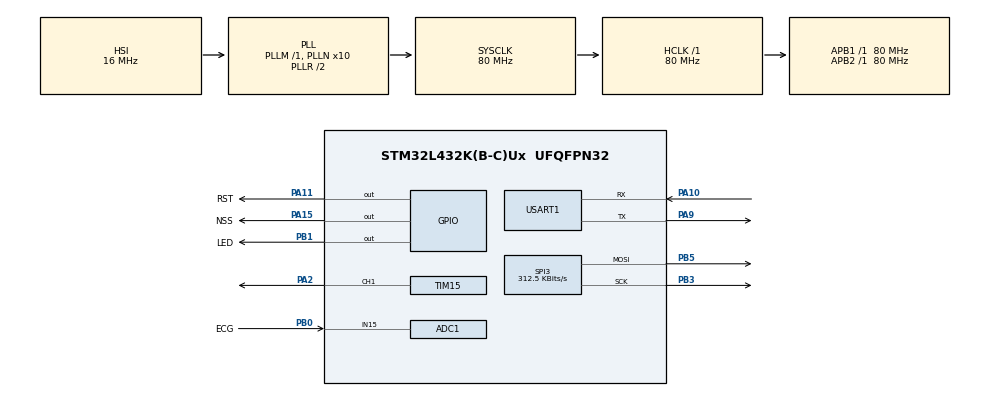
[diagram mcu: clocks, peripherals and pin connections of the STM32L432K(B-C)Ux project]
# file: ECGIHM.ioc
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ADC1.Channel-1\#ChannelRegularConversion=ADC_CHANNEL_15
ADC1.ExternalTrigConv=ADC_EXTERNALTRIG_T15_TRGO
ADC1.NbrOfConversionFlag=1
ADC1.OffsetNumber-1\#ChannelRegularConversion=ADC_OFFSET_NONE
ADC1.Rank-1\#ChannelRegularConversion=1
ADC1.SamplingTime-1\#ChannelRegularConversion=ADC_SAMPLETIME_92CYCLES_5
ADC1.master=1
Mcu.Family=STM32L4
Mcu.Name=STM32L432K(B-C)Ux
Mcu.Package=UFQFPN32
NVIC.ADC1_IRQn=true\:0\:0\:false\:false\:true\:true\:true\:true
NVIC.PriorityGroup=NVIC_PRIORITYGROUP_4
NVIC.TIM1_BRK_TIM15_IRQn=true\:0\:0\:false\:false\:true\:true\:true\:true
NVIC.TIM2_IRQn=true\:0\:0\:false\:false\:true\:true\:true\:true
NVIC.TIM7_IRQn=true\:0\:0\:false\:false\:true\:true\:true\:true
NVIC.USART1_IRQn=true\:0\:0\:false\:false\:true\:true\:true\:true
PA10.Mode=Asynchronous
PA10.Signal=USART1_RX
PA11.GPIO_Label=RST
PA11.Signal=GPIO_Output
PA13\ (JTMS-SWDIO).Mode=Serial_Wire
PA13\ (JTMS-SWDIO).Signal=SYS_JTMS-SWDIO
PA14\ (JTCK-SWCLK).Mode=Serial_Wire
PA14\ (JTCK-SWCLK).Signal=SYS_JTCK-SWCLK
PA15\ (JTDI).GPIO_Label=NSS
PA15\ (JTDI).Signal=GPIO_Output
PA2.Signal=S_TIM15_CH1
PA9.Mode=Asynchronous
PA9.Signal=USART1_TX
PB0.GPIO_Label=ECG
PB0.Signal=ADCx_IN15
PB1.GPIO_Label=LED
PB1.Signal=GPIO_Output
PB3\ (JTDO-TRACESWO).Mode=TX_Only_Simplex_Unidirect_Master
PB3\ (JTDO-TRACESWO).Signal=SPI3_SCK
PB5.Mode=TX_Only_Simplex_Unidirect_Master
PB5.Signal=SPI3_MOSI
PC14-OSC32_IN\ (PC14).Mode=LSE-External-Oscillator
PC14-OSC32_IN\ (PC14).Signal=RCC_OSC32_IN
PC15-OSC32_OUT\ (PC15).Mode=LSE-External-Oscillator
PC15-OSC32_OUT\ (PC15).Signal=RCC_OSC32_OUT
ProjectManager.HeapSize=0x200
ProjectManager.StackSize=0x400
ProjectManager.TargetToolchain=STM32CubeIDE
RCC.ADCCLockSelection=RCC_ADCCLKSOURCE_SYSCLK
RCC.ADCFreq_Value=80000000
RCC.AHBFreq_Value=80000000
RCC.APB1Freq_Value=80000000
RCC.APB1TimFreq_Value=80000000
RCC.APB2Freq_Value=80000000
RCC.APB2TimFreq_Value=80000000
RCC.CortexFreq_Value=80000000
RCC.HCLKFreq_Value=80000000
RCC.HSE_VALUE=8000000
RCC.HSI48_VALUE=48000000
RCC.HSI_VALUE=16000000
RCC.MSI_VALUE=4000000
RCC.PLLN=10
RCC.PLLSourceVirtual=RCC_PLLSOURCE_HSI
RCC.SYSCLKFreq_VALUE=80000000
RCC.SYSCLKSource=RCC_SYSCLKSOURCE_PLLCLK
RCC.USBFreq_Value=64000000
RCC.VCOOutputFreq_Value=160000000
SH.ADCx_IN15.0=ADC1_IN15,IN15-Single-Ended
SH.S_TIM15_CH1.0=TIM15_CH1,Output Compare1 CH1
SPI3.BaudRatePrescaler=SPI_BAUDRATEPRESCALER_256
SPI3.CalculateBaudRate=312.5 KBits/s
SPI3.DataSize=SPI_DATASIZE_8BIT
SPI3.Direction=SPI_DIRECTION_2LINES
SPI3.Mode=SPI_MODE_MASTER
SPI3.VirtualType=VM_MASTER
TIM15.Channel-Output\ Compare1\ CH1=TIM_CHANNEL_1
TIM15.Period=533-1
TIM15.Prescaler=63
TIM15.TIM_MasterOutputTrigger=TIM_TRGO_UPDATE
TIM7.Period=10000-1
TIM7.Prescaler=8000-1
USART1.VirtualMode-Asynchronous=VM_ASYNC
VP_TIM15_VS_ClockSourceINT.Mode=Internal
VP_TIM2_VS_ClockSourceINT.Mode=Internal
VP_TIM7_VS_ClockSourceINT.Mode=Enable_Timer
board=custom

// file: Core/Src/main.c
/* USER CODE BEGIN Header */
/* USER CODE END Header */
#include "main.h"
#include "adc.h"
#include "spi.h"
#include "tim.h"
#include "usart.h"
#include "gpio.h"

/* USER CODE BEGIN Includes */
#include "DOT_MATRIX.h"
#include "DOT_MATRIX_cfg.h"
#include <string.h>
#include <math.h>
#include <stdio.h>
/* USER CODE END Includes */

/* USER CODE BEGIN PD */
#define SAMPLE_RATE   1500.0f
#define BUFFER_SIZE   10000

#define PI            3.14159265358979323846f
#define SQRT2         1.4142135623730950488f

#define K 			  3  // taille de la fenêtre moy gliss
#define K_dev         20

#define THRESHOLD_BPM			 10.0f   //detection des pics
#define MATRIX_DISPLAY_UNIT1 	 0

#define NUM_PEAKS_FOR_BPM 		15      // nombre de pics à utiliser pour le calcul du BPM

// Paramètres du filtre FIR
#define FIR_ORDER 	       90
#define LP_CUTOFF  		   50.0f       // Hz Freq coupure du filtre passe-bas

// Paramètres du filtre de Kalman
#define KALMAN_R      0.005f  // Variance du bruit de mesure
#define KALMAN_Q      0.0005f // Variance du bruit de processus

/* USER CODE END PD */

/* USER CODE BEGIN PV */
float filtered_buffer[BUFFER_SIZE];
volatile uint16_t buffer_index = 0;

// Coefficients du filtre FIR passe-bas
float fir_coeffs[FIR_ORDER+1] = {0.0f};
float fir_buffer[FIR_ORDER+1] = {0.0f};

// Variables pour le filtre de Kalman
float kalman_x = 0.0f;      // État estimé
float kalman_p = 1.0f;      // Estimation de l'erreur de covariance
float kalman_k = 0.0f;      // Gain de Kalman
float kalman_prev = 0.0f;   // Estimation précédente (pour la dérivée)

float hp_prev = 0.0f;
float raw_prev = 0.0f;

uint16_t adc_buffer[K];
uint8_t adc_count = 0;

volatile uint32_t last_peak_time = 0;
volatile int peak_count = 0;
float bpm = 0.0f;
char bpm_buffer[8];
int cnt_bpm = 0;

// Tableau pour stocker les intervalles R-R en ms
volatile uint32_t rr_intervals[NUM_PEAKS_FOR_BPM-1] = {0};
volatile int rr_index = 0;
volatile int valid_intervals = 0;

/* USER CODE END PV */

void SystemClock_Config(void);
/* USER CODE BEGIN PFP */

void lpf_compute_coeffs(float cutoff, float samplerate);
float apply_kalman_filter(float input);
void process_and_transmit(float avg_val);
float calculate_bpm(void);
void HAL_TIM_PeriodElapsedCallback(TIM_HandleTypeDef *htim);

/* USER CODE END PFP */

int main(void)
{

  /* MCU Configuration--------------------------------------------------------*/

  /* Reset of all peripherals, Initializes the Flash interface and the Systick. */
  HAL_Init();

  /* Configure the system clock */
  SystemClock_Config();

  /* Initialize all configured peripherals */
  MX_GPIO_Init();
  MX_TIM7_Init();
  MX_ADC1_Init();
  MX_USART1_UART_Init();
  MX_TIM15_Init();
  MX_SPI3_Init();
  MX_TIM2_Init();
  /* USER CODE BEGIN 2 */

  lpf_compute_coeffs(LP_CUTOFF, SAMPLE_RATE);

  HAL_TIM_Base_Start_IT(&htim7);
  HAL_TIM_Base_Start_IT(&htim15);
  HAL_ADCEx_Calibration_Start(&hadc1, ADC_SINGLE_ENDED);
  HAL_ADC_Start_IT(&hadc1);

  //oled
  DOT_MATRIX_Init_TMR(&hspi3, &htim2);
  MATRIX_DisplayMessage(MATRIX_DISPLAY_UNIT1, bpm_buffer, sizeof(bpm_buffer));

  /* USER CODE END 2 */

  /* Infinite loop */
  while (1)
  {

  }
}

void SystemClock_Config(void)
{
  RCC_OscInitTypeDef RCC_OscInitStruct = {0};
  RCC_ClkInitTypeDef RCC_ClkInitStruct = {0};

  /** Configure the main internal regulator output voltage
  */
  if (HAL_PWREx_ControlVoltageScaling(PWR_REGULATOR_VOLTAGE_SCALE1) != HAL_OK)
  {
    Error_Handler();
  }

  /** Initializes the RCC Oscillators according to the specified parameters
  * in the RCC_OscInitTypeDef structure.
  */
  RCC_OscInitStruct.OscillatorType = RCC_OSCILLATORTYPE_HSI;
  RCC_OscInitStruct.HSIState = RCC_HSI_ON;
  RCC_OscInitStruct.HSICalibrationValue = RCC_HSICALIBRATION_DEFAULT;
  RCC_OscInitStruct.PLL.PLLState = RCC_PLL_ON;
  RCC_OscInitStruct.PLL.PLLSource = RCC_PLLSOURCE_HSI;
  RCC_OscInitStruct.PLL.PLLM = 1;
  RCC_OscInitStruct.PLL.PLLN = 10;
  RCC_OscInitStruct.PLL.PLLP = RCC_PLLP_DIV7;
  RCC_OscInitStruct.PLL.PLLQ = RCC_PLLQ_DIV2;
  RCC_OscInitStruct.PLL.PLLR = RCC_PLLR_DIV2;
  if (HAL_RCC_OscConfig(&RCC_OscInitStruct) != HAL_OK)
  {
    Error_Handler();
  }

  /** Initializes the CPU, AHB and APB buses clocks
  */
  RCC_ClkInitStruct.ClockType = RCC_CLOCKTYPE_HCLK|RCC_CLOCKTYPE_SYSCLK
                              |RCC_CLOCKTYPE_PCLK1|RCC_CLOCKTYPE_PCLK2;
  RCC_ClkInitStruct.SYSCLKSource = RCC_SYSCLKSOURCE_PLLCLK;
  RCC_ClkInitStruct.AHBCLKDivider = RCC_SYSCLK_DIV1;
  RCC_ClkInitStruct.APB1CLKDivider = RCC_HCLK_DIV1;
  RCC_ClkInitStruct.APB2CLKDivider = RCC_HCLK_DIV1;

  if (HAL_RCC_ClockConfig(&RCC_ClkInitStruct, FLASH_LATENCY_4) != HAL_OK)
  {
    Error_Handler();
  }
}

/* USER CODE BEGIN 4 */

void HAL_TIM_PeriodElapsedCallback(TIM_HandleTypeDef *htim)
{
	if (htim->Instance == TIM7)
	{
		//led clignote
		HAL_GPIO_TogglePin(LED_GPIO_Port, LED_Pin);
	}

	//affichage bpm sur oled
	MATRIX_TMR_OVF_ISR(htim);

	cnt_bpm++;
	if (cnt_bpm>40) { //envoie des données avec un compteur pour pas saturer affichage oled
		sprintf(bpm_buffer, "%dbpm", (int)bpm);
		cnt_bpm = 0;
	}
}

//calcul des coefs du passe bas
void lpf_compute_coeffs(float cutoff, float samplerate) {
    // Calcul des coefficients d'un filtre FIR passe-bas avec fenêtre de Hamming
    float fc = cutoff / samplerate;  // Fréquence de coupure normalisée (0 à 0.5)
    int middle = FIR_ORDER / 2;

    // Création du filtre FIR
    for (int i = 0; i <= FIR_ORDER; i++) {
        if (i == middle) {
            // Cas spécial pour éviter la division par zéro
            fir_coeffs[i] = 2.0f * fc;
        } else {
            // Formule du filtre sinus cardinal
            float x = 2.0f * PI * fc * (i - middle);
            fir_coeffs[i] = sin(x) / x;
        }

        // Application de la fenêtre de Hamming
        fir_coeffs[i] *= (0.54f - 0.46f * cos(2.0f * PI * i / FIR_ORDER));
    }

    // Normalisation des coefficients pour un gain unitaire
    float sum = 0.0f;
    for (int i = 0; i <= FIR_ORDER; i++) {
        sum += fir_coeffs[i];
    }

    for (int i = 0; i <= FIR_ORDER; i++) {
        fir_coeffs[i] /= sum;
    }
}

/* filtre FIR */
float apply_lpf_order2(float input) {
    // Décalage du buffer
    for (int i = FIR_ORDER; i > 0; i--) {
        fir_buffer[i] = fir_buffer[i-1];
    }
    fir_buffer[0] = input;

    // Application du filtre FIR
    float output = 0.0f;
    for (int i = 0; i <= FIR_ORDER; i++) {
        output += fir_coeffs[i] * fir_buffer[i];
    }

    return output;
}

/* Filtre de Kalman */
float apply_kalman_filter(float input) {
    // Prédiction
    // x(k|k-1) = x(k-1|k-1) (modèle simple, pas de changement prédit)
    // P(k|k-1) = P(k-1|k-1) + Q
    kalman_p = kalman_p + KALMAN_Q;

    // Mise à jour
    // K(k) = P(k|k-1) / (P(k|k-1) + R)
    kalman_k = kalman_p / (kalman_p + KALMAN_R);

    // x(k|k) = x(k|k-1) + K(k) * (z(k) - x(k|k-1))
    float innovation = input - kalman_x;
    kalman_x = kalman_x + kalman_k * innovation;

    // P(k|k) = (1 - K(k)) * P(k|k-1)
    kalman_p = (1.0f - kalman_k) * kalman_p;

    // Calculer la dérivée pour agir comme un filtre passe-haut
    float kalman_derivative = kalman_x - kalman_prev;
    kalman_prev = kalman_x;

    return kalman_derivative;
}

// ADC callback: collecte des données et calcul de la moyenne après K appels
void HAL_ADC_ConvCpltCallback(ADC_HandleTypeDef* hadc)
{
    uint16_t raw_val = HAL_ADC_GetValue(hadc);

    // Stockage dans le buffer temporaire
    adc_buffer[adc_count] = raw_val;
    adc_count++;

    // Après K appels, calculer la moyenne et traiter
    if (adc_count >= K)
    {
        float sum = 0.0f;
        for (int i = 0; i < K; i++)
        {
            // Appliquer la saturation
            float val;
            if (adc_buffer[i] < 1000.0f)
            {
                val = (float)adc_buffer[i];
            }
            else
            {
            	val = (float)adc_buffer[i];
            	//val = 1000.0f;
            }
            sum += val;
        }

        // Calculer la moyenne
        float avg_val = sum / K;

        // Traiter et transmettre
        process_and_transmit(avg_val);

        // Réinitialiser le compteur
        adc_count = 0;
    }
}

// Fonction pour traiter et transmettre la valeur moyenne
void process_and_transmit(float avg_val)
{
    // Filtre passe-bas (LP) ordre 2
    float lp_val = apply_lpf_order2(avg_val);

    // Filtre de Kalman
    float kalman_val = apply_kalman_filter(lp_val);

    // Stockage circulaire
    filtered_buffer[buffer_index] = kalman_val;
    buffer_index = (buffer_index + 1) % BUFFER_SIZE;

    static float squared_buffer[K] = {0.0f};
    static int squared_index = 0;

    // Calcul du signal au carré
    float val_squared = kalman_val * kalman_val;

    // Si kalman_val est négatif, mettre val_squared à 0
    if (kalman_val < 0) {
        val_squared = 0.0f;
    }

    // Mise à jour du buffer de valeurs au carré
    squared_buffer[squared_index] = val_squared;
    squared_index = (squared_index + 1) % K;

    // Calcul de la moyenne mobile du signal au carré
    float squared_sum = 0.0f;
    for (int i = 0; i < K; i++) {
        squared_sum += squared_buffer[i];
    }
    float squared_avg = squared_sum / K;

    // Détection des pics basée sur la moyenne mobile du signal au carré
    if (squared_avg > THRESHOLD_BPM) {
        uint32_t current_time = HAL_GetTick(); // Temps en ms

        // Éviter la détection de plusieurs pics trop rapprochés (200ms = 300BPM max)
        if (current_time - last_peak_time > 200) {
            // Calcul de l'intervalle R-R
            if (last_peak_time > 0) {
                uint32_t interval = current_time - last_peak_time;

                // Stockage de l'intervalle R-R
                rr_intervals[rr_index] = interval;
                rr_index = (rr_index + 1) % (NUM_PEAKS_FOR_BPM-1);
                if (valid_intervals < NUM_PEAKS_FOR_BPM-1) {
                    valid_intervals++;
                }
            }

            // Mettre à jour le dernier temps de pic
            last_peak_time = current_time;
            peak_count++;

            // Calcul du BPM à partir des intervalles R-R
            if (valid_intervals >= 3) { // Besoin d'au moins 3 intervalles
                float sum_intervals = 0.0f;
                int intervals_to_use = valid_intervals;

                // Utiliser les intervalles valides pour calculer la moyenne
                for (int i = 0; i < intervals_to_use; i++) {
                    int idx = (rr_index - 1 - i + (NUM_PEAKS_FOR_BPM-1)) % (NUM_PEAKS_FOR_BPM-1);
                    sum_intervals += rr_intervals[idx];
                }

                // Calcul du BPM: 60000ms / moyenne des intervalles R-R
                float avg_interval = sum_intervals / intervals_to_use;
                float current_bpm = 60000.0f / avg_interval;

                // Filtrage pour éliminer les valeurs aberrantes
                if (current_bpm >= 40.0f && current_bpm <= 200.0f) {
                    // Moyenne mobile pour lisser le BPM
                    static float bpm_sum = 0.0f;
                    static int bpm_samples = 0;
                    const int bpm_avg_window = 5; // Réduit à 5 pour plus de réactivité

                    bpm_sum += current_bpm;
                    bpm_samples++;

                    if (bpm_samples >= bpm_avg_window) {
                        bpm = bpm_sum / bpm_avg_window;
                        bpm_sum = 0.0f;
                        bpm_samples = 0;
                    }
                }
            }
        }
    }

    // Transmission UART des valeurs pour Serial Plotter
    char tx_buffer[64];
    sprintf(tx_buffer, "%.2f %.2f %.2f %.2f %.2f\n", avg_val, lp_val, kalman_val, squared_avg, bpm);
    HAL_UART_Transmit(&huart1, (uint8_t*)tx_buffer, strlen(tx_buffer), HAL_MAX_DELAY);
}

/* USER CODE END 4 */

void Error_Handler(void)
{
  __disable_irq();
  while (1)
  {
  }
}
